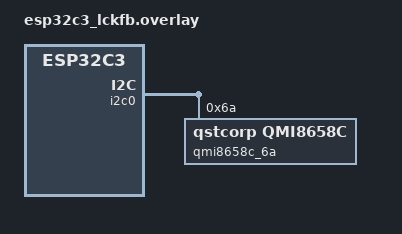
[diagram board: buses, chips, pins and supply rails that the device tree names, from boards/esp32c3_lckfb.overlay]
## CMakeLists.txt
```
#
# Copyright (c) 2025 LCKFB
#
# SPDX-License-Identifier: Apache-2.0
#

cmake_minimum_required(VERSION 3.20.0)
find_package(Zephyr REQUIRED HINTS $ENV{ZEPHYR_BASE})
project(qmi8658c)

FILE(GLOB app_sources src/*.c)
target_sources(app PRIVATE ${app_sources})
```

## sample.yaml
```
#
# Copyright (c) 2025 LCKFB
#
# SPDX-License-Identifier: Apache-2.0
#

sample:
  name: QMI8658C Sensor Sample
tests:
  sample.sensor.qmi8658c:
    build_only: true
    platform_allow: esp32c3_lckfb
    tags: sensors
    integration_platforms:
      - esp32c3_lckfb
```

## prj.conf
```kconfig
#
# Copyright (c) 2025 LCKFB
#
# SPDX-License-Identifier: Apache-2.0
#

CONFIG_I2C=y
CONFIG_SENSOR=y
CONFIG_QMI8658C=y
CONFIG_CBPRINTF_FP_SUPPORT=y
```

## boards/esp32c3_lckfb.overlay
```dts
/*
 * Copyright (c) 2025 LCKFB
 *
 * SPDX-License-Identifier: Apache-2.0
 */

/ {
	aliases {
		qmi8658c-0 = &qmi8658c_6a;
	};
};

&i2c0 {
	qmi8658c_6a: qmi8658c@6a {
		compatible = "qstcorp,qmi8658c";
		reg = <0x6a>;
		status = "okay";
	};
};
```

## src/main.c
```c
/*
 * Copyright (c) 2025 LCKFB
 * SPDX-License-Identifier: Apache-2.0
 */

#include <zephyr/kernel.h>
#include <zephyr/device.h>
#include <zephyr/drivers/sensor.h>
#include <stdio.h>
#include <math.h>

#define LOG_LEVEL CONFIG_LOG_DEFAULT_LEVEL
#include <zephyr/logging/log.h>
LOG_MODULE_REGISTER(qmi8658c, LOG_LEVEL_INF);

#ifndef M_PI
#define M_PI 3.14159265358979323846
#endif
#ifndef M_PI_F
#define M_PI_F 3.14159265358979323846f
#endif

/* Calculate tilt angles from accelerometer data
 * This function calculates the tilt angles (roll, pitch, yaw) from
 * accelerometer readings using atan2 function.
 */
static void calculate_angles(float acc_x, float acc_y, float acc_z,
			     float *angle_x, float *angle_y, float *angle_z)
{
	float temp;

	/* Calculate angle X (roll) */
	temp = acc_x / sqrtf(acc_y * acc_y + acc_z * acc_z);
	*angle_x = atanf(temp) * 57.3f;  /* Convert to degrees: 180/PI ≈ 57.3 */

	/* Calculate angle Y (pitch) */
	temp = acc_y / sqrtf(acc_x * acc_x + acc_z * acc_z);
	*angle_y = atanf(temp) * 57.3f;

	/* Calculate angle Z (yaw) */
	temp = acc_z / sqrtf(acc_x * acc_x + acc_y * acc_y);
	*angle_z = atanf(temp) * 57.3f;
}

int main(void)
{
	const struct device *const dev = DEVICE_DT_GET(DT_ALIAS(qmi8658c_0));
	struct sensor_value accel[3], gyro[3];
	int ret;
	float acc_ms2[3], gyr_rads[3];
	float angle_x, angle_y, angle_z;

	if (!device_is_ready(dev)) {
		LOG_ERR("Sensor device not ready: %s", dev->name);
		return 0;
	}

	LOG_INF("QMI8658C sensor sample started");

	while (1) {
		/* Fetch sensor data */
		ret = sensor_sample_fetch(dev);
		if (ret) {
			if (ret != -EBUSY) {
				LOG_ERR("sensor_sample_fetch failed: %d", ret);
			}
			k_sleep(K_MSEC(10));
			continue;
		}

		/* Read accelerometer data (in m/s²) */
		ret = sensor_channel_get(dev, SENSOR_CHAN_ACCEL_XYZ, accel);
		if (ret) {
			LOG_ERR("sensor_channel_get(ACCEL) failed: %d", ret);
			k_sleep(K_MSEC(10));
			continue;
		}

		/* Read gyroscope data (in rad/s) */
		ret = sensor_channel_get(dev, SENSOR_CHAN_GYRO_XYZ, gyro);
		if (ret) {
			LOG_ERR("sensor_channel_get(GYRO) failed: %d", ret);
			k_sleep(K_MSEC(10));
			continue;
		}

		/* Convert sensor_value to float */
		acc_ms2[0] = sensor_value_to_float(&accel[0]);
		acc_ms2[1] = sensor_value_to_float(&accel[1]);
		acc_ms2[2] = sensor_value_to_float(&accel[2]);
		gyr_rads[0] = sensor_value_to_float(&gyro[0]);
		gyr_rads[1] = sensor_value_to_float(&gyro[1]);
		gyr_rads[2] = sensor_value_to_float(&gyro[2]);

		/* Calculate tilt angles from accelerometer */
		calculate_angles(acc_ms2[0], acc_ms2[1], acc_ms2[2],
				&angle_x, &angle_y, &angle_z);

		/* Display sensor data */
		printf("Accel: X=%.2f, Y=%.2f, Z=%.2f m/s² | "
		       "Gyro: X=%.2f, Y=%.2f, Z=%.2f rad/s | "
		       "Angle: X=%.1f°, Y=%.1f°, Z=%.1f°\n",
		       (double)acc_ms2[0], (double)acc_ms2[1], (double)acc_ms2[2],
		       (double)gyr_rads[0], (double)gyr_rads[1], (double)gyr_rads[2],
		       (double)angle_x, (double)angle_y, (double)angle_z);

		/* Sample at 10 Hz (100ms interval) */
		k_sleep(K_MSEC(100));
	}

	return 0;
}
```
